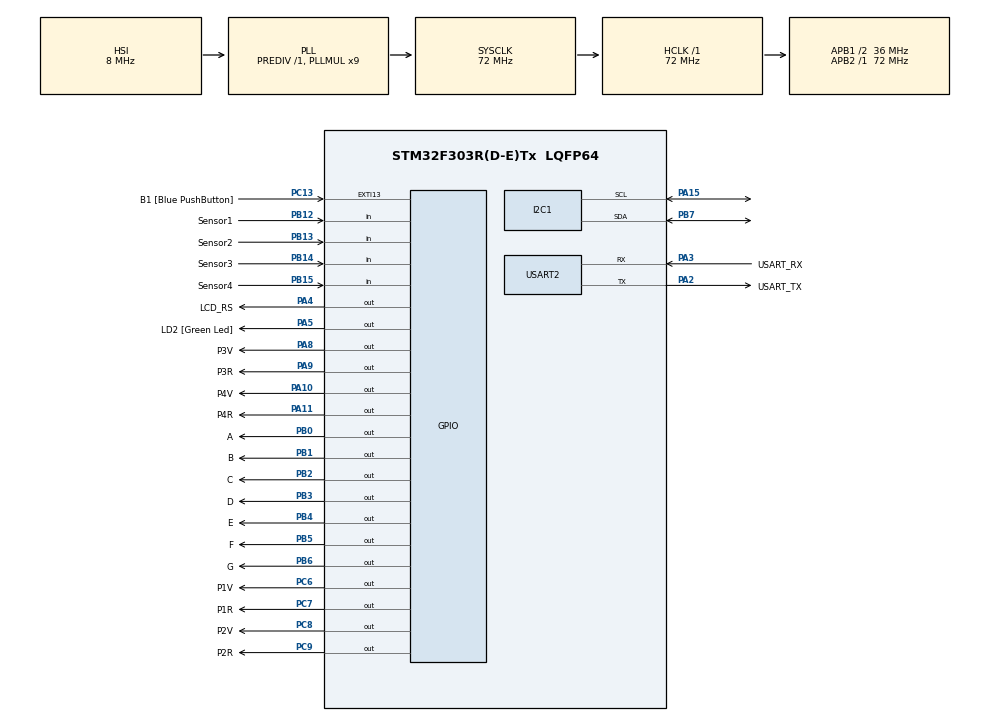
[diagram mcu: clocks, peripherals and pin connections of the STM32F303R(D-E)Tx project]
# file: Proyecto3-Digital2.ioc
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I2C1.DualAddressMode=I2C_DUALADDRESS_DISABLE
I2C1.OwnAddress=0x64
I2C1.Timing=0x00201D2B
Mcu.Family=STM32F3
Mcu.Name=STM32F303R(D-E)Tx
Mcu.Package=LQFP64
NVIC.I2C1_ER_IRQn=true\:0\:0\:false\:false\:true\:true\:true\:true
NVIC.I2C1_EV_IRQn=true\:0\:0\:false\:false\:true\:true\:true\:true
NVIC.PriorityGroup=NVIC_PRIORITYGROUP_0
PA10.GPIO_Label=P4V
PA10.PinState=GPIO_PIN_SET
PA10.Signal=GPIO_Output
PA11.GPIO_Label=P4R
PA11.Signal=GPIO_Output
PA13.GPIO_Label=TMS
PA13.Mode=Serial_Wire
PA13.Signal=SYS_JTMS-SWDIO
PA14.GPIO_Label=TCK
PA14.Mode=Serial_Wire
PA14.Signal=SYS_JTCK-SWCLK
PA15.Mode=I2C
PA15.Signal=I2C1_SCL
PA2.GPIO_Label=USART_TX
PA2.GPIO_Mode=GPIO_MODE_AF_PP
PA2.GPIO_PuPd=GPIO_NOPULL
PA2.GPIO_Speed=GPIO_SPEED_FREQ_LOW
PA2.Mode=Asynchronous
PA2.Signal=USART2_TX
PA3.GPIO_Label=USART_RX
PA3.GPIO_Mode=GPIO_MODE_AF_PP
PA3.GPIO_PuPd=GPIO_NOPULL
PA3.GPIO_Speed=GPIO_SPEED_FREQ_LOW
PA3.Mode=Asynchronous
PA3.Signal=USART2_RX
PA4.GPIO_Label=LCD_RS
PA4.Signal=GPIO_Output
PA5.GPIO_Label=LD2 [Green Led]
PA5.GPIO_Mode=GPIO_MODE_OUTPUT_PP
PA5.GPIO_PuPd=GPIO_NOPULL
PA5.GPIO_Speed=GPIO_SPEED_FREQ_LOW
PA5.Signal=GPIO_Output
PA8.GPIO_Label=P3V
PA8.PinState=GPIO_PIN_SET
PA8.Signal=GPIO_Output
PA9.GPIO_Label=P3R
PA9.Signal=GPIO_Output
PB0.GPIO_Label=A
PB0.Signal=GPIO_Output
PB1.GPIO_Label=B
PB1.Signal=GPIO_Output
PB12.GPIO_Label=Sensor1
PB12.GPIO_PuPd=GPIO_PULLUP
PB12.Signal=GPIO_Input
PB13.GPIO_Label=Sensor2
PB13.GPIO_PuPd=GPIO_PULLUP
PB13.Signal=GPIO_Input
PB14.GPIO_Label=Sensor3
PB14.GPIO_PuPd=GPIO_PULLUP
PB14.Signal=GPIO_Input
PB15.GPIO_Label=Sensor4
PB15.GPIO_PuPd=GPIO_PULLUP
PB15.Signal=GPIO_Input
PB2.GPIO_Label=C
PB2.Signal=GPIO_Output
PB3.GPIO_Label=D
PB3.Signal=GPIO_Output
PB4.GPIO_Label=E
PB4.Signal=GPIO_Output
PB5.GPIO_Label=F
PB5.Signal=GPIO_Output
PB6.GPIO_Label=G
PB6.Signal=GPIO_Output
PB7.Mode=I2C
PB7.Signal=I2C1_SDA
PC13.GPIO_Label=B1 [Blue PushButton]
PC13.GPIO_ModeDefaultEXTI=GPIO_MODE_IT_FALLING
PC13.Signal=GPXTI13
PC14-OSC32_IN.Mode=LSE-External-Oscillator
PC14-OSC32_IN.Signal=RCC_OSC32_IN
PC15-OSC32_OUT.Mode=LSE-External-Oscillator
PC15-OSC32_OUT.Signal=RCC_OSC32_OUT
PC6.GPIO_Label=P1V
PC6.PinState=GPIO_PIN_SET
PC6.Signal=GPIO_Output
PC7.GPIO_Label=P1R
PC7.Signal=GPIO_Output
PC8.GPIO_Label=P2V
PC8.PinState=GPIO_PIN_SET
PC8.Signal=GPIO_Output
PC9.GPIO_Label=P2R
PC9.Signal=GPIO_Output
PF0-OSC_IN.Mode=HSE-External-Clock-Source
PF0-OSC_IN.Signal=RCC_OSC_IN
PF1-OSC_OUT.Signal=RCC_OSC_OUT
ProjectManager.HeapSize=0x200
ProjectManager.StackSize=0x400
ProjectManager.TargetToolchain=STM32CubeIDE
RCC.AHBFreq_Value=72000000
RCC.APB1CLKDivider=RCC_HCLK_DIV2
RCC.APB1Freq_Value=36000000
RCC.APB1TimFreq_Value=72000000
RCC.APB2Freq_Value=72000000
RCC.APB2TimFreq_Value=72000000
RCC.CortexFreq_Value=72000000
RCC.HCLKFreq_Value=72000000
RCC.HSE_VALUE=8000000
RCC.HSI_VALUE=8000000
RCC.PLLM=8
RCC.PLLMUL=RCC_PLL_MUL9
RCC.PLLN=336
RCC.PLLP=RCC_PLLP_DIV4
RCC.PLLQ=7
RCC.RCC_PLLsource_Clock_Source_FROM_HSE=RCC_HSE_PREDIV_DIV2
RCC.SYSCLKFreq_VALUE=72000000
RCC.SYSCLKSourceVirtual=RCC_SYSCLKSOURCE_PLLCLK
RCC.USBFreq_Value=72000000
USART2.VirtualMode-Asynchronous=VM_ASYNC
board=NUCLEO-F303RE

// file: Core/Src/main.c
/* USER CODE BEGIN Header */
/**
  ******************************************************************************
  * @file           : main.c
  * @brief          : Main program body
  ******************************************************************************
  * @attention
  *
  * Copyright (c) 2025 STMicroelectronics.
  * All rights reserved.
  *
  * This software is licensed under terms that can be found in the LICENSE file
  * in the root directory of this software component.
  * If no LICENSE file comes with this software, it is provided AS-IS.
  *
  ******************************************************************************
  */
/* USER CODE END Header */
#include "main.h"

/* USER CODE BEGIN Includes */
#include <stdio.h>
#include <stdint.h>
#include <string.h>
#include <stdbool.h>

/* USER CODE END Includes */

/* USER CODE BEGIN PD */
#define Sensores GPIOB
#define DISPLAY_PORT GPIOB
#define Parqueo1_2 GPIOC
#define Parqueo3_4 GPIOA

/* USER CODE END PD */

I2C_HandleTypeDef hi2c1;

UART_HandleTypeDef huart2;

/* USER CODE BEGIN PV */
uint8_t contador = 8;
uint8_t P1 = 0;
uint8_t P2 = 0;
uint8_t P3 = 0;
uint8_t P4 = 0;
uint8_t ValorI2C = 0x00;
uint8_t ValorCompletoParqueo;
uint8_t paso;

/* USER CODE END PV */

void SystemClock_Config(void);
static void MX_GPIO_Init(void);
static void MX_USART2_UART_Init(void);
static void MX_I2C1_Init(void);
/* USER CODE BEGIN PFP */
void SevenSeg_Display(uint8_t numero);
/* USER CODE END PFP */

/* USER CODE BEGIN 0 */

void SevenSeg_Display(uint8_t numero)
{
    // Apagar todos los segmentos
    HAL_GPIO_WritePin(DISPLAY_PORT, A_Pin|B_Pin|C_Pin|D_Pin|E_Pin|F_Pin|G_Pin, GPIO_PIN_RESET);

    switch (numero) {
        case 0:
            HAL_GPIO_WritePin(DISPLAY_PORT, A_Pin|B_Pin|C_Pin|D_Pin|E_Pin|F_Pin, GPIO_PIN_SET);
            break;
        case 1:
            HAL_GPIO_WritePin(DISPLAY_PORT, B_Pin|C_Pin, GPIO_PIN_SET);
            break;
        case 2:
            HAL_GPIO_WritePin(DISPLAY_PORT, A_Pin|B_Pin|D_Pin|E_Pin|G_Pin, GPIO_PIN_SET);
            break;
        case 3:
            HAL_GPIO_WritePin(DISPLAY_PORT, A_Pin|B_Pin|C_Pin|D_Pin|G_Pin, GPIO_PIN_SET);
            break;
        case 4:
            HAL_GPIO_WritePin(DISPLAY_PORT, B_Pin|C_Pin|F_Pin|G_Pin, GPIO_PIN_SET);
            break;
        case 5:
            HAL_GPIO_WritePin(DISPLAY_PORT, A_Pin|C_Pin|D_Pin|F_Pin|G_Pin, GPIO_PIN_SET);
            break;
        case 6:
            HAL_GPIO_WritePin(DISPLAY_PORT, A_Pin|C_Pin|D_Pin|E_Pin|F_Pin|G_Pin, GPIO_PIN_SET);
            break;
        case 7:
            HAL_GPIO_WritePin(DISPLAY_PORT, A_Pin|B_Pin|C_Pin, GPIO_PIN_SET);
            break;
        case 8:
            HAL_GPIO_WritePin(DISPLAY_PORT, A_Pin|B_Pin|C_Pin|D_Pin|E_Pin|F_Pin|G_Pin, GPIO_PIN_SET);
            break;
        case 9:
            HAL_GPIO_WritePin(DISPLAY_PORT, A_Pin|B_Pin|C_Pin|D_Pin|F_Pin|G_Pin, GPIO_PIN_SET);
            break;
        default:
            // apaga todo
            break;
    }
}

/* USER CODE END 0 */

int main(void)
{

  /* MCU Configuration--------------------------------------------------------*/

  /* Reset of all peripherals, Initializes the Flash interface and the Systick. */
  HAL_Init();

  /* Configure the system clock */
  SystemClock_Config();

  /* Initialize all configured peripherals */
  MX_GPIO_Init();
  MX_USART2_UART_Init();
  MX_I2C1_Init();

  /* Infinite loop */
  /* USER CODE BEGIN WHILE */
  while (1)
  {
	  ValorI2C = 0;
	  //Parqueo 1
	  if(HAL_GPIO_ReadPin(Sensores, Sensor1_Pin) == GPIO_PIN_RESET){
		  HAL_GPIO_WritePin(Parqueo1_2, P1V_Pin, GPIO_PIN_RESET);
		  HAL_GPIO_WritePin(Parqueo1_2, P1R_Pin, GPIO_PIN_SET);
		  P1 = 1;
	  }
	  else if(HAL_GPIO_ReadPin(Sensores, Sensor1_Pin) == GPIO_PIN_SET){
		  HAL_GPIO_WritePin(Parqueo1_2, P1V_Pin, GPIO_PIN_SET);
		  HAL_GPIO_WritePin(Parqueo1_2, P1R_Pin, GPIO_PIN_RESET);
		  P1 = 0;
	  }

	  //Parqueo 2
	  if(HAL_GPIO_ReadPin(Sensores, Sensor2_Pin) == GPIO_PIN_RESET){
		  HAL_GPIO_WritePin(Parqueo1_2, P2V_Pin, GPIO_PIN_RESET);
		  HAL_GPIO_WritePin(Parqueo1_2, P2R_Pin, GPIO_PIN_SET);
		  P2 = 1;

	  }
	  else if(HAL_GPIO_ReadPin(Sensores, Sensor2_Pin) == GPIO_PIN_SET){
		  HAL_GPIO_WritePin(Parqueo1_2, P2V_Pin, GPIO_PIN_SET);
		  HAL_GPIO_WritePin(Parqueo1_2, P2R_Pin, GPIO_PIN_RESET);
		  P2 = 0;

	  }

	  //Parqueo 3
	  if(HAL_GPIO_ReadPin(Sensores, Sensor3_Pin) == GPIO_PIN_RESET){
		  HAL_GPIO_WritePin(Parqueo3_4, P3V_Pin, GPIO_PIN_RESET);
		  HAL_GPIO_WritePin(Parqueo3_4, P3R_Pin, GPIO_PIN_SET);
		  P3 = 1;
	  }
	  else if(HAL_GPIO_ReadPin(Sensores, Sensor3_Pin) == GPIO_PIN_SET){
		  HAL_GPIO_WritePin(Parqueo3_4, P3V_Pin, GPIO_PIN_SET);
		  HAL_GPIO_WritePin(Parqueo3_4, P3R_Pin, GPIO_PIN_RESET);
		  P3 = 0;

	  }

	  //Parqueo 4
	  if(HAL_GPIO_ReadPin(Sensores, Sensor4_Pin) == GPIO_PIN_RESET){
		  HAL_GPIO_WritePin(Parqueo3_4, P4V_Pin, GPIO_PIN_RESET);
		  HAL_GPIO_WritePin(Parqueo3_4, P4R_Pin, GPIO_PIN_SET);
		  P4 = 1;

	  }
	  else  if(HAL_GPIO_ReadPin(Sensores, Sensor4_Pin) == GPIO_PIN_SET){
		  HAL_GPIO_WritePin(Parqueo3_4, P4V_Pin, GPIO_PIN_SET);
		  HAL_GPIO_WritePin(Parqueo3_4, P4R_Pin, GPIO_PIN_RESET);
		  P4 = 0;

	  }
	 ValorI2C  |= HAL_GPIO_ReadPin(Sensores, Sensor1_Pin) ? 1<<4 : 0 ;
	 ValorI2C  |= HAL_GPIO_ReadPin(Sensores, Sensor2_Pin) ? 1<<5 : 0 ;
	 ValorI2C  |= HAL_GPIO_ReadPin(Sensores, Sensor3_Pin) ? 1<<6 : 0 ;
	 ValorI2C  |= HAL_GPIO_ReadPin(Sensores, Sensor4_Pin) ? 1<<7 : 0 ;

	 HAL_I2C_Slave_Transmit(&hi2c1, &ValorI2C, 1, HAL_MAX_DELAY);

	 //HAL_I2C_Slave_Receive(&hi2c1, &ValorCompletoParqueo, 1, HAL_MAX_DELAY);

	  HAL_Delay(100);

	  SevenSeg_Display(contador - P1 - P2 - P3 - P4);

    /* USER CODE END WHILE */

  }
}

void SystemClock_Config(void)
{
  RCC_OscInitTypeDef RCC_OscInitStruct = {0};
  RCC_ClkInitTypeDef RCC_ClkInitStruct = {0};
  RCC_PeriphCLKInitTypeDef PeriphClkInit = {0};

  /** Initializes the RCC Oscillators according to the specified parameters
  * in the RCC_OscInitTypeDef structure.
  */
  RCC_OscInitStruct.OscillatorType = RCC_OSCILLATORTYPE_HSI;
  RCC_OscInitStruct.HSIState = RCC_HSI_ON;
  RCC_OscInitStruct.HSICalibrationValue = RCC_HSICALIBRATION_DEFAULT;
  RCC_OscInitStruct.PLL.PLLState = RCC_PLL_ON;
  RCC_OscInitStruct.PLL.PLLSource = RCC_PLLSOURCE_HSI;
  RCC_OscInitStruct.PLL.PLLMUL = RCC_PLL_MUL9;
  RCC_OscInitStruct.PLL.PREDIV = RCC_PREDIV_DIV1;
  if (HAL_RCC_OscConfig(&RCC_OscInitStruct) != HAL_OK)
  {
    Error_Handler();
  }

  /** Initializes the CPU, AHB and APB buses clocks
  */
  RCC_ClkInitStruct.ClockType = RCC_CLOCKTYPE_HCLK|RCC_CLOCKTYPE_SYSCLK
                              |RCC_CLOCKTYPE_PCLK1|RCC_CLOCKTYPE_PCLK2;
  RCC_ClkInitStruct.SYSCLKSource = RCC_SYSCLKSOURCE_PLLCLK;
  RCC_ClkInitStruct.AHBCLKDivider = RCC_SYSCLK_DIV1;
  RCC_ClkInitStruct.APB1CLKDivider = RCC_HCLK_DIV2;
  RCC_ClkInitStruct.APB2CLKDivider = RCC_HCLK_DIV1;

  if (HAL_RCC_ClockConfig(&RCC_ClkInitStruct, FLASH_LATENCY_2) != HAL_OK)
  {
    Error_Handler();
  }
  PeriphClkInit.PeriphClockSelection = RCC_PERIPHCLK_USART2|RCC_PERIPHCLK_I2C1;
  PeriphClkInit.Usart2ClockSelection = RCC_USART2CLKSOURCE_PCLK1;
  PeriphClkInit.I2c1ClockSelection = RCC_I2C1CLKSOURCE_HSI;
  if (HAL_RCCEx_PeriphCLKConfig(&PeriphClkInit) != HAL_OK)
  {
    Error_Handler();
  }
}

static void MX_I2C1_Init(void)
{

  hi2c1.Instance = I2C1;
  hi2c1.Init.Timing = 0x00201D2B;
  hi2c1.Init.OwnAddress1 = 200;
  hi2c1.Init.AddressingMode = I2C_ADDRESSINGMODE_7BIT;
  hi2c1.Init.DualAddressMode = I2C_DUALADDRESS_DISABLE;
  hi2c1.Init.OwnAddress2 = 0;
  hi2c1.Init.OwnAddress2Masks = I2C_OA2_NOMASK;
  hi2c1.Init.GeneralCallMode = I2C_GENERALCALL_DISABLE;
  hi2c1.Init.NoStretchMode = I2C_NOSTRETCH_DISABLE;
  if (HAL_I2C_Init(&hi2c1) != HAL_OK)
  {
    Error_Handler();
  }

  /** Configure Analogue filter
  */
  if (HAL_I2CEx_ConfigAnalogFilter(&hi2c1, I2C_ANALOGFILTER_ENABLE) != HAL_OK)
  {
    Error_Handler();
  }

  /** Configure Digital filter
  */
  if (HAL_I2CEx_ConfigDigitalFilter(&hi2c1, 0) != HAL_OK)
  {
    Error_Handler();
  }

}

static void MX_USART2_UART_Init(void)
{

  huart2.Instance = USART2;
  huart2.Init.BaudRate = 38400;
  huart2.Init.WordLength = UART_WORDLENGTH_8B;
  huart2.Init.StopBits = UART_STOPBITS_1;
  huart2.Init.Parity = UART_PARITY_NONE;
  huart2.Init.Mode = UART_MODE_TX_RX;
  huart2.Init.HwFlowCtl = UART_HWCONTROL_NONE;
  huart2.Init.OverSampling = UART_OVERSAMPLING_16;
  huart2.Init.OneBitSampling = UART_ONE_BIT_SAMPLE_DISABLE;
  huart2.AdvancedInit.AdvFeatureInit = UART_ADVFEATURE_NO_INIT;
  if (HAL_UART_Init(&huart2) != HAL_OK)
  {
    Error_Handler();
  }

}

static void MX_GPIO_Init(void)
{
  GPIO_InitTypeDef GPIO_InitStruct = {0};

  /* GPIO Ports Clock Enable */
  __HAL_RCC_GPIOC_CLK_ENABLE();
  __HAL_RCC_GPIOF_CLK_ENABLE();
  __HAL_RCC_GPIOA_CLK_ENABLE();
  __HAL_RCC_GPIOB_CLK_ENABLE();

  /*Configure GPIO pin Output Level */
  HAL_GPIO_WritePin(GPIOA, LCD_RS_Pin|LD2_Pin|P3R_Pin|P4R_Pin, GPIO_PIN_RESET);

  /*Configure GPIO pin Output Level */
  HAL_GPIO_WritePin(GPIOB, A_Pin|B_Pin|C_Pin|D_Pin
                          |E_Pin|F_Pin|G_Pin, GPIO_PIN_RESET);

  /*Configure GPIO pin Output Level */
  HAL_GPIO_WritePin(GPIOC, P1V_Pin|P2V_Pin, GPIO_PIN_SET);

  /*Configure GPIO pin Output Level */
  HAL_GPIO_WritePin(GPIOC, P1R_Pin|P2R_Pin, GPIO_PIN_RESET);

  /*Configure GPIO pin Output Level */
  HAL_GPIO_WritePin(GPIOA, P3V_Pin|P4V_Pin, GPIO_PIN_SET);

  /*Configure GPIO pin : B1_Pin */
  GPIO_InitStruct.Pin = B1_Pin;
  GPIO_InitStruct.Mode = GPIO_MODE_IT_FALLING;
  GPIO_InitStruct.Pull = GPIO_NOPULL;
  HAL_GPIO_Init(B1_GPIO_Port, &GPIO_InitStruct);

  /*Configure GPIO pins : LCD_RS_Pin LD2_Pin P3V_Pin P3R_Pin
                           P4V_Pin P4R_Pin */
  GPIO_InitStruct.Pin = LCD_RS_Pin|LD2_Pin|P3V_Pin|P3R_Pin
                          |P4V_Pin|P4R_Pin;
  GPIO_InitStruct.Mode = GPIO_MODE_OUTPUT_PP;
  GPIO_InitStruct.Pull = GPIO_NOPULL;
  GPIO_InitStruct.Speed = GPIO_SPEED_FREQ_LOW;
  HAL_GPIO_Init(GPIOA, &GPIO_InitStruct);

  /*Configure GPIO pins : A_Pin B_Pin C_Pin D_Pin
                           E_Pin F_Pin G_Pin */
  GPIO_InitStruct.Pin = A_Pin|B_Pin|C_Pin|D_Pin
                          |E_Pin|F_Pin|G_Pin;
  GPIO_InitStruct.Mode = GPIO_MODE_OUTPUT_PP;
  GPIO_InitStruct.Pull = GPIO_NOPULL;
  GPIO_InitStruct.Speed = GPIO_SPEED_FREQ_LOW;
  HAL_GPIO_Init(GPIOB, &GPIO_InitStruct);

  /*Configure GPIO pins : Sensor1_Pin Sensor2_Pin Sensor3_Pin Sensor4_Pin */
  GPIO_InitStruct.Pin = Sensor1_Pin|Sensor2_Pin|Sensor3_Pin|Sensor4_Pin;
  GPIO_InitStruct.Mode = GPIO_MODE_INPUT;
  GPIO_InitStruct.Pull = GPIO_PULLUP;
  HAL_GPIO_Init(GPIOB, &GPIO_InitStruct);

  /*Configure GPIO pins : P1V_Pin P1R_Pin P2V_Pin P2R_Pin */
  GPIO_InitStruct.Pin = P1V_Pin|P1R_Pin|P2V_Pin|P2R_Pin;
  GPIO_InitStruct.Mode = GPIO_MODE_OUTPUT_PP;
  GPIO_InitStruct.Pull = GPIO_NOPULL;
  GPIO_InitStruct.Speed = GPIO_SPEED_FREQ_LOW;
  HAL_GPIO_Init(GPIOC, &GPIO_InitStruct);

}

void Error_Handler(void)
{
  __disable_irq();
  while (1)
  {
  }
}
